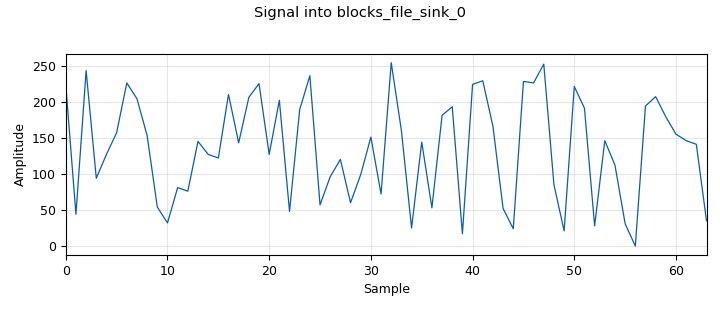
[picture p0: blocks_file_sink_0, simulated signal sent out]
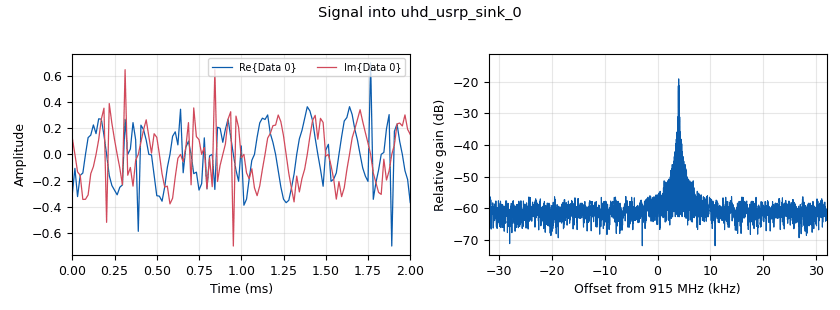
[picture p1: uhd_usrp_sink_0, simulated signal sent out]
options:
  parameters:
    generate_options: no_gui
    id: alpha_stable_generator
    output_language: python
    run_options: run
    title: Alpha stable simulation
  states: {}

blocks:
- name: alpha_map
  id: variable
  parameters:
    value: '[float(x) for x in alpha_map_str.split(",")]'
  states: {}
- name: beta_map
  id: variable
  parameters:
    value: '[float(x) for x in beta_map_str.split(",")]'
  states: {}
- name: gama_map
  id: variable
  parameters:
    value: '[float(x) for x in gama_map_str.split(",")]'
  states: {}
- name: samp_rate
  id: variable
  parameters:
    value: '64000'
  states: {}
- name: L
  id: parameter
  parameters:
    type: intx
    value: '20'
  states: {}
- name: alpha_map_str
  id: parameter
  parameters:
    type: str
    value: '"1.2,1.4,1.6,1.8"'
  states: {}
- name: analog_random_source_x_0
  id: analog_random_source_x
  parameters:
    max: '255'
    min: '0'
    num_samps: source_number_of_samples
    repeat: 'False'
    type: byte
  states: {}
- name: analog_sig_source_x_0
  id: analog_sig_source_x
  parameters:
    amp: '1'
    freq: '1000'
    offset: '0'
    phase: '0'
    samp_rate: samp_rate
    type: complex
    waveform: analog.GR_COS_WAVE
  states: {state: disabled}
- name: beta_map_str
  id: parameter
  parameters:
    type: str
    value: '"-1.0,1.0"'
  states: {}
- name: blocks_file_sink_0
  id: blocks_file_sink
  parameters:
    file: source_file
    type: byte
  states: {}
- name: decoded_file
  id: parameter
  parameters:
    type: str
    value: r"C:\Users\ANEDCD~1\Desktop\3.letnik\Diploma\simulations\decoded.bin"
  states: {}
- name: encoded_file
  id: parameter
  parameters:
    type: str
    value: r"C:\Users\ANEDCD~1\Desktop\3.letnik\Diploma\simulations\encoded.bin"
  states: {}
- name: eos_timeout
  id: parameter
  parameters:
    label: EOS_timeout
    type: eng_float
    value: '3.0'
  states: {}
- name: epy_block_0
  id: epy_block
  parameters:
    _source_code: |-
      """Shared framed alpha-stable SDR protocol used by sender and receiver.

      The synchronization word and header are deterministic BPSK.  Only the payload
      uses alpha-stable symbols, so acquisition does not depend on a statistical
      estimate and the payload modulation remains unchanged in principle.
      """

      import struct
      import sys
      import time
      import zlib

      import numpy as np
      from gnuradio import gr


      SYNC_WORD = 0x1ACFFC1D  # 32-bit CCSDS attached synchronization marker
      MIN_SYNC_SYMBOLS = 32
      MAGIC = 0xD39A
      HEADER_BYTES = 10  # uint16 magic, uint32 payload length, uint32 CRC32


      def bytes_to_bits(data):
          """Return least-significant-bit-first bits, matching the payload mapping."""
          values = np.frombuffer(bytes(data), dtype=np.uint8)
          return np.unpackbits(values, bitorder="little").astype(np.uint8, copy=False)


      def bits_to_bytes(bits):
          bits = np.asarray(bits, dtype=np.uint8)
          if len(bits) % 8:
              raise ValueError("Number of bits must be a multiple of 8")
          return np.packbits(bits, bitorder="little").tobytes()


      def sync_pattern(symbols=MIN_SYNC_SYMBOLS):
          """Build a deterministic, non-periodic +/-1 synchronization sequence."""
          symbols = max(MIN_SYNC_SYMBOLS, int(symbols))
          word_bits = np.asarray(
              [(SYNC_WORD >> (31 - index)) & 1 for index in range(32)],
              dtype=np.float32,
          )
          bits = np.resize(word_bits, symbols)
          return np.where(bits > 0, 1.0, -1.0).astype(np.float32)


      class alpha_encoder(gr.basic_block):
          """Frame bytes and encode payload bits as skewed alpha-stable symbols."""

          def __init__(
              self,
              alpha_map=(1.2, 1.4, 1.6, 1.8),
              beta_map=(-1.0, 1.0),
              gama_map=(0.5, 1.0, 1.5, 2.0),
              samples_per_symbol=500,
              encode_alpha=False,
              encode_beta=True,
              encode_gama=False,
              eos_timeout=2.0,
              expected_input_bytes=None,
              sync_symbols=MIN_SYNC_SYMBOLS,
              header_repetitions=3,
              tx_amplitude=0.70,
              payload_scale=0.05,
              sample_rate=64000,
              subcarrier_frequency=4000,
              payload_pilot_amplitude=0.70,
              tx_tail_symbols=8,
          ):
              gr.basic_block.__init__(
                  self, name="alpha_encoder", in_sig=[np.uint8], out_sig=[np.complex64]
              )

              self.alpha_map = np.asarray(alpha_map, dtype=np.float64)
              self.beta_map = np.asarray(beta_map, dtype=np.float64)
              self.gama_map = np.asarray(gama_map, dtype=np.float64)
              self.samples_per_symbol = int(samples_per_symbol)
              self.encode_alpha = bool(encode_alpha)
              self.encode_beta = bool(encode_beta)
              self.encode_gama = bool(encode_gama)
              self.eos_timeout = float(eos_timeout)
              self.expected_input_bytes = (
                  None if expected_input_bytes is None else int(expected_input_bytes)
              )
              self.sync_symbols = max(MIN_SYNC_SYMBOLS, int(sync_symbols))
              self.header_repetitions = int(header_repetitions)
              self.tx_amplitude = float(tx_amplitude)
              self.payload_scale = float(payload_scale)
              self.sample_rate = float(sample_rate)
              self.subcarrier_frequency = float(subcarrier_frequency)
              self.payload_pilot_amplitude = float(payload_pilot_amplitude)
              self.tx_tail_symbols = int(tx_tail_symbols)

              if self.samples_per_symbol <= 0:
                  raise ValueError("samples_per_symbol must be positive")
              if len(self.beta_map) != 2 or not self.encode_beta:
                  raise ValueError("Hardware protocol requires two beta values")
              if self.encode_alpha or self.encode_gama:
                  raise ValueError("Framed hardware protocol currently encodes beta only")
              if self.header_repetitions < 1 or self.header_repetitions % 2 == 0:
                  raise ValueError("header_repetitions must be a positive odd number")
              if not (0.0 < self.tx_amplitude <= 0.95):
                  raise ValueError("tx_amplitude must be in (0, 0.95]")
              if self.payload_scale <= 0.0:
                  raise ValueError("payload_scale must be positive")
              if self.sample_rate <= 0.0:
                  raise ValueError("sample_rate must be positive")
              if abs(self.subcarrier_frequency) >= self.sample_rate / 4.0:
                  raise ValueError("subcarrier_frequency must be below sample_rate/4")
              if not (0.0 < self.payload_pilot_amplitude <= 0.95):
                  raise ValueError("payload_pilot_amplitude must be in (0, 0.95]")
              if self.tx_tail_symbols < 1:
                  raise ValueError("tx_tail_symbols must be positive")

              self._input = bytearray()
              self._output_fifo = np.empty(0, dtype=np.complex64)
              self._frame_prepared = False
              self._ever_received_input = False
              self._last_input_time = None

              print(
                  "\n[ENC INIT] protocol=PN32+REPEATED_HEADER+PILOTED_ALPHA_STABLE_PAYLOAD",
                  file=sys.stderr,
                  flush=True,
              )
              print(
                  f"[ENC INIT] samples_per_symbol={self.samples_per_symbol} "
                  f"sync_symbols={self.sync_symbols} "
                  f"header_repetitions={self.header_repetitions}",
                  file=sys.stderr,
                  flush=True,
              )
              print(
                  f"[ENC INIT] tx_amplitude={self.tx_amplitude:.3f} "
                  f"payload_scale={self.payload_scale:.4f} "
                  f"subcarrier={self.subcarrier_frequency:.0f} Hz "
                  f"payload_pilot={self.payload_pilot_amplitude:.3f} "
                  f"tx_tail_symbols={self.tx_tail_symbols}",
                  file=sys.stderr,
                  flush=True,
              )

          def forecast(self, noutput_items, ninputs):
              if self._frame_prepared or len(self._output_fifo):
                  return [0] * int(ninputs)
              return [1] * int(ninputs)

          @staticmethod
          def alpha_stable_batch(beta_values, samples_per_symbol, alpha=1.1, gamma=1.0):
              beta_values = np.asarray(beta_values, dtype=np.float64)
              count = len(beta_values) * int(samples_per_symbol)
              if count == 0:
                  return np.empty(0, dtype=np.float32)

              beta = np.repeat(beta_values, int(samples_per_symbol))
              v = np.random.uniform(-np.pi / 2.0, np.pi / 2.0, count)
              w = np.maximum(np.random.exponential(1.0, count), 1e-12)
              constant = beta * np.tan(np.pi * alpha / 2.0)
              shift = np.arctan(constant)
              scale = (1.0 + constant * constant) ** (1.0 / (2.0 * alpha))
              samples = (
                  scale
                  * np.sin(alpha * v + shift)
                  / np.cos(v) ** (1.0 / alpha)
                  * (np.cos((1.0 - alpha) * v - shift) / w)
                  ** ((1.0 - alpha) / alpha)
              )
              samples = np.nan_to_num(samples * gamma, nan=0.0, posinf=0.0, neginf=0.0)
              return samples.astype(np.float32, copy=False)

          def _deterministic_symbols(self, values):
              values = np.asarray(values, dtype=np.float32) * self.tx_amplitude
              return np.repeat(values, self.samples_per_symbol).astype(np.complex64)

          def build_frame(self, payload):
              """Build one complete contiguous transmit burst."""
              payload = bytes(payload)
              crc = zlib.crc32(payload) & 0xFFFFFFFF

              preamble = self._deterministic_symbols(sync_pattern(self.sync_symbols))

              # The header is deterministic and repeated so that packet length and
              # the diagnostic CRC can be recovered before decoding stochastic data.
              header = struct.pack("<HII", MAGIC, len(payload), crc)
              header_bits = bytes_to_bits(header)
              repeated_header_bits = np.tile(header_bits, self.header_repetitions)
              header_samples = self._deterministic_symbols(
                  np.where(repeated_header_bits > 0, 1.0, -1.0)
              )

              payload_bits = bytes_to_bits(payload)
              beta_values = self.beta_map[payload_bits]
              payload_real = self.alpha_stable_batch(
                  beta_values, self.samples_per_symbol, alpha=1.1, gamma=1.0
              )
              # UHD expects normalized complex samples.  Explicit limiting prevents
              # undocumented DAC clipping while retaining the skew sign in the tails.
              payload_real = np.clip(
                  payload_real * self.payload_scale,
                  -self.tx_amplitude,
                  self.tx_amplitude,
              )
              alpha_symbols = payload_real.reshape(-1, self.samples_per_symbol)
              # Every information bit is still represented only by the beta of its
              # alpha-stable data symbol.  The preceding deterministic symbol is a
              # local phase/frequency reference and carries no information.
              pilot_symbols = np.full_like(
                  alpha_symbols, self.payload_pilot_amplitude, dtype=np.float32
              )
              pairs = np.empty(
                  (len(payload_bits), 2, self.samples_per_symbol), dtype=np.complex64
              )
              pairs[:, 0, :] = pilot_symbols
              pairs[:, 1, :] = alpha_symbols
              payload_samples = pairs.reshape(-1)

              # Keep the final data symbols away from UHD's end-of-burst boundary.
              # Without a guard tail, the receiver can observe noise in place of the
              # last part of the payload when the B210 transmit stream shuts down.
              # A positive tone maintains a continuous envelope; it is not decoded.
              tail_samples = np.full(
                  self.tx_tail_symbols * self.samples_per_symbol,
                  np.complex64(self.payload_pilot_amplitude + 0j),
                  dtype=np.complex64,
              )

              frame = np.concatenate(
                  (preamble, header_samples, payload_samples, tail_samples)
              )
              if self.subcarrier_frequency:
                  index = np.arange(len(frame), dtype=np.float64)
                  frame = frame * np.exp(
                      1j * 2.0 * np.pi * self.subcarrier_frequency * index / self.sample_rate
                  )
                  frame = frame.astype(np.complex64, copy=False)
              print(
                  f"[ENC FRAME] payload={len(payload)} bytes crc=0x{crc:08X} "
                  f"preamble={len(preamble)} header={len(header_samples)} "
                  f"payload_samples={len(payload_samples)} tail={len(tail_samples)} "
                  f"total={len(frame)}",
                  file=sys.stderr,
                  flush=True,
              )
              return frame

          def general_work(self, input_items, output_items):
              incoming = input_items[0]
              out = output_items[0]

              if len(incoming):
                  self._ever_received_input = True
                  self._last_input_time = time.monotonic()
                  remaining = None
                  if self.expected_input_bytes is not None:
                      remaining = max(0, self.expected_input_bytes - len(self._input))
                  accepted = len(incoming) if remaining is None else min(len(incoming), remaining)
                  if accepted:
                      self._input.extend(np.asarray(incoming[:accepted], dtype=np.uint8).tobytes())
                  self.consume(0, len(incoming))

              complete = (
                  self.expected_input_bytes is not None
                  and len(self._input) >= self.expected_input_bytes
              )
              timed_out = (
                  self.expected_input_bytes is None
                  and self._ever_received_input
                  and self._last_input_time is not None
                  and time.monotonic() - self._last_input_time >= self.eos_timeout
              )

              # Prepare the entire packet before emitting its first sample.  This
              # removes the preamble-to-payload underflow seen with the USRP sink.
              if not self._frame_prepared and (complete or timed_out):
                  self._output_fifo = self.build_frame(self._input)
                  self._frame_prepared = True

              if len(self._output_fifo):
                  count = min(len(out), len(self._output_fifo))
                  out[:count] = self._output_fifo[:count]
                  self._output_fifo = self._output_fifo[count:]
                  return count

              if self._frame_prepared:
                  print("[ENC] WORK_DONE", file=sys.stderr, flush=True)
                  return gr.WORK_DONE
              return 0
    alpha_map: alpha_map
    beta_map: beta_map
    encode_alpha: 'False'
    encode_beta: 'True'
    encode_gama: 'False'
    eos_timeout: eos_timeout
    expected_input_bytes: source_number_of_samples
    gama_map: gama_map
    header_repetitions: '3'
    payload_pilot_amplitude: '0.70'
    payload_scale: '0.05'
    sample_rate: samp_rate
    samples_per_symbol: samples_per_symbol
    subcarrier_frequency: '4000'
    sync_symbols: '32'
    tx_amplitude: '0.70'
    tx_tail_symbols: '8'
  states: {}
- name: gama_map_str
  id: parameter
  parameters:
    type: str
    value: '"0.5,1.0,1.5,2.0"'
  states: {}
- name: noise_ratio
  id: parameter
  parameters:
    type: eng_float
    value: '10'
  states: {}
- name: samples_per_symbol
  id: parameter
  parameters:
    type: intx
    value: '500'
  states: {}
- name: source_file
  id: parameter
  parameters:
    type: str
    value: r"source.bin"
  states: {}
- name: source_number_of_samples
  id: parameter
  parameters:
    type: intx
    value: '128'
  states: {}
- name: uhd_usrp_sink_0
  id: uhd_usrp_sink
  parameters:
    ant0: '"TX/RX"'
    bw0: '200000'
    center_freq0: '915000000'
    dev_addr: '"serial=30F4194"'
    gain0: '35'
    samp_rate: samp_rate
    sync: sync
    type: fc32
  states: {}

connections:
- [analog_random_source_x_0, '0', blocks_file_sink_0, '0']
- [analog_random_source_x_0, '0', epy_block_0, '0']
- [epy_block_0, '0', uhd_usrp_sink_0, '0']

metadata:
  file_format: 1
  grc_version: 3.10.12.0
